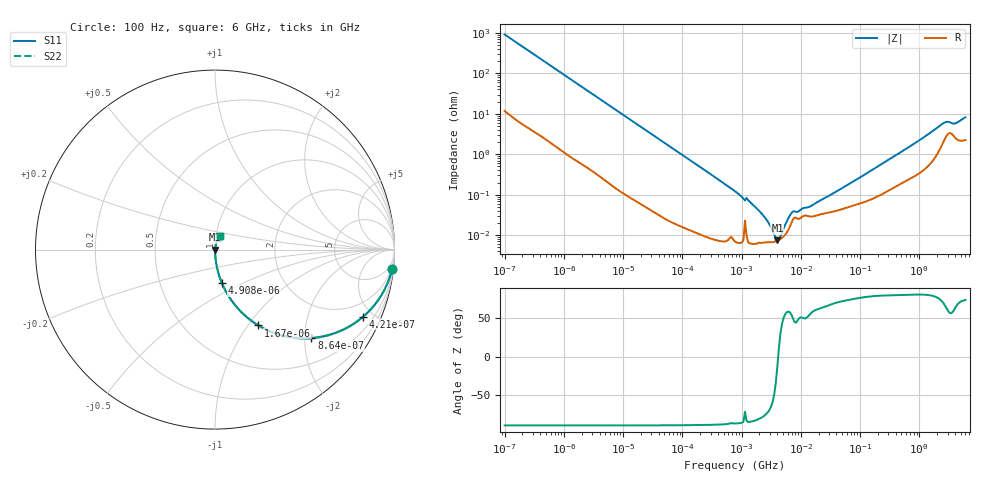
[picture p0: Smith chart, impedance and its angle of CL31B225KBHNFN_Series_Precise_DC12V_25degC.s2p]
! CL31B225KBHNFN Multilayer Ceramic Capacitor Sparameter Model
! Model Generated by Samsung Electro-Mechanics
! Samsung Sparameter Version 5.0
! Date : May-30-2020
! Products : Multilayer Ceramic Capacitor(General)
! Characteristics :
!  Nominal Capacitance = 2.2uF
!  Capacitance Tolerance = ¡¾10 %
!  TCC = X7R(-55 ~ +125 degC.)
!  Rated Voltage = 50Vdc
!  Size = 1206(unit:inch), 3216(unit:mm)
!  Length = 3.20 ¡¾ 0.20 mm
!  Width = 1.60 ¡¾ 0.20 mm
!  Thickness = 1.60 ¡¾ 0.20 mm
!  Measurement Temperature : 25degC.
!  DC bias Value = 12V
!  Frequency : 100Hz ~ 6GHz
! External Node Assignments :
!  1  o---||---o  2
# MHz S RI R 50.0
! Freq.  Real(S11)  Im(S11)  Real(S12)  Im(S12)  Real(S21)  Im(S21)  Real(S22)  Im(S22)
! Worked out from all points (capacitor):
!   300 points, 100 Hz to 6 GHz, reference 50 ohm
!   read as one part in series: C = 1.73 uF near 106.2 Hz
!   lowest |Z| = 7.43 mohm at 4.022 MHz (marker M1)
!   series resonance near 4.147 MHz, so ESL is about 850 pH
!   S11 on the Smith chart (normalised r, x): 100 Hz: 1, -18; 421 Hz: 1.05, -4.40; 864 Hz: 1.03, -2.16; 1.67 kHz: 1.01, -1.12; 4.908 kHz: 1.00, -0.39; 6 GHz: 1.04, +0.16
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0.0001  0.9869 -0.1074  0.0131 0.1074  0.0131 0.1074  0.9869 -0.1074
0.0004210496  0.8259 -0.373  0.1741 0.373  0.1741 0.373  0.8259 -0.373
0.0008639723  0.5375 -0.4927  0.4625 0.4927  0.4625 0.4927  0.5375 -0.4927
0.001669754  0.2419 -0.4223  0.7581 0.4223  0.7581 0.4223  0.2419 -0.4223
0.001998454  0.1834 -0.381  0.8166 0.381  0.8166 0.381  0.1834 -0.381
0.004907976  0.0378 -0.1848  0.9622 0.1848  0.9622 0.1848  0.0378 -0.1848
0.03993819  0.000886 -0.024  0.9991 0.024  0.9991 0.024  0.000886 -0.024
0.7981464  6.87e-05 -0.00118  0.9999 0.00118  0.9999 0.00118  6.87e-05 -0.00118
1.143315  0.000228 -0.00068  0.9998 0.00068  0.9998 0.00068  0.000228 -0.00068
1.213891  9.75e-05 -0.000829  0.9999 0.000829  0.9999 0.000829  9.75e-05 -0.000829
1.960157  6.57e-05 -0.000398  0.9999 0.000398  0.9999 0.000398  6.57e-05 -0.000398
2.807851  6.62e-05 -0.000199  0.9999 0.000199  0.9999 0.000199  6.62e-05 -0.000199
3.56804  6.84e-05 -7.68e-05  0.9999 7.68e-05  0.9999 7.68e-05  6.84e-05 -7.68e-05
4.022142  7.26e-05 -1.56e-05  0.9999 1.56e-05  0.9999 1.56e-05  7.26e-05 -1.56e-05
4.534038  7.99e-05 4.7e-05  0.9999 -4.7e-05  0.9999 -4.7e-05  7.99e-05 4.7e-05
6.117227  0.000132 0.00022  0.9999 -0.00022  0.9999 -0.00022  0.000132 0.00022
7.321436  0.000241 0.000295  0.9998 -0.000295  0.9998 -0.000295  0.000241 0.000295
15.95059  0.000289 0.00048  0.9997 -0.00048  0.9997 -0.00048  0.000289 0.00048
318.7652  0.00137 0.00756  0.9986 -0.00756  0.9986 -0.00756  0.00137 0.00756
2593.922  0.0236 0.0532  0.9764 -0.0532  0.9764 -0.0532  0.0236 0.0532
3945.064  0.0283 0.0482  0.9717 -0.0482  0.9717 -0.0482  0.0283 0.0482
6000  0.0278 0.0752  0.9722 -0.0752  0.9722 -0.0752  0.0278 0.0752
